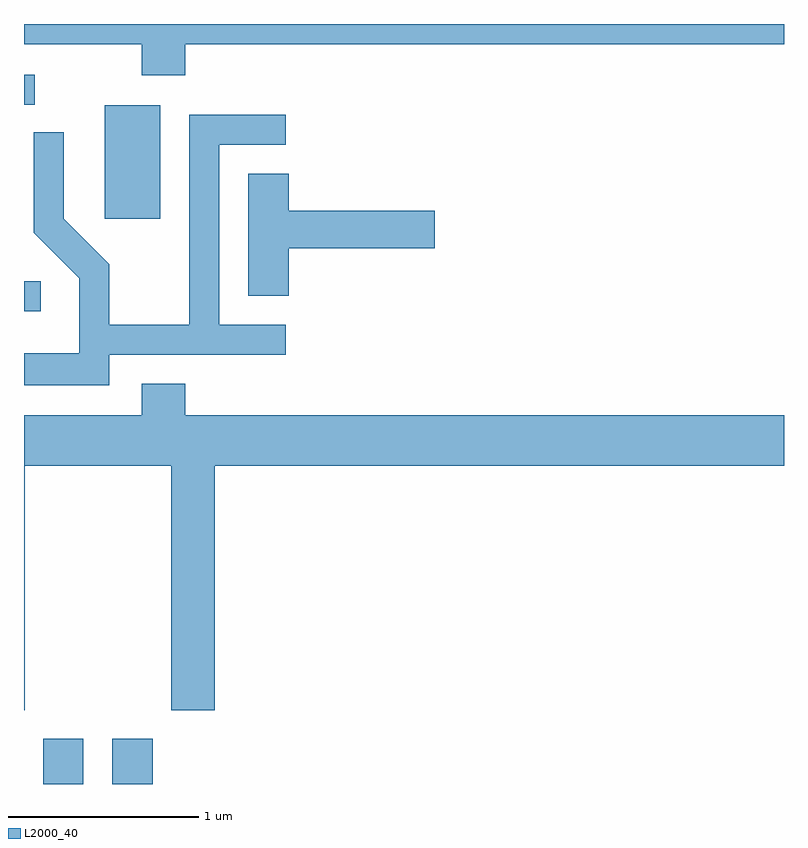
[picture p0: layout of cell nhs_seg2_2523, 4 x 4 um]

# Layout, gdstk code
import gdstk
lib = gdstk.Library(unit=1e-6, precision=1e-09)
def R(c, l, rs):  # rectangles x0, y0, x1, y1
    for r in rs: c.add(gdstk.rectangle(r[:2], r[2:], *l))
def P(c, l, *ps):  # polygons
    for p in ps: c.add(gdstk.Polygon(p, *l))
L2000_40 = (2000, 40)

nhs_seg2_2523 = lib.new_cell('nhs_seg2_2523')
R(nhs_seg2_2523, L2000_40, [(259.711,997.802,259.924,998.039), (260.076,997.802,260.289,998.039), (259.611,1000.291,259.698,1000.449), (260.036,1000.776,260.329,1001.374), (259.611,1001.376,259.668,1001.534)])
P(nhs_seg2_2523, L2000_40, [(260.459,1001.696),(263.611,1001.696),(263.611,1001.802),(259.611,1001.802),(259.611,1001.696),(260.231,1001.696),(260.231,1001.531),(260.459,1001.531)],
  [(260.059,1000.061),(260.988,1000.061),(260.988,1000.219),(260.639,1000.219),(260.639,1001.166),(260.988,1001.166),(260.988,1001.324),(260.481,1001.324),(260.481,1000.219),(260.059,1000.219),(260.059,1000.537),(259.819,1000.777),(259.819,1001.233),(259.661,1001.233),(259.661,1000.704),(259.901,1000.464),(259.901,1000.069),(259.611,1000.069),(259.611,999.901),(260.059,999.901)],
  [(261.004,1000.621),(261.774,1000.621),(261.774,1000.819),(261.004,1000.819),(261.004,1001.014),(260.791,1001.014),(260.791,1000.371),(261.004,1000.371)],
  [(259.614,999.476),(260.386,999.476),(260.386,998.191),(260.614,998.191),(260.614,999.476),(263.611,999.476),(263.611,999.744),(260.459,999.744),(260.459,999.909),(260.231,999.909),(260.231,999.744),(259.611,999.744),(259.611,998.191),(259.614,998.191)])

lib.write_gds('nhs_seg2_2523.gds')
